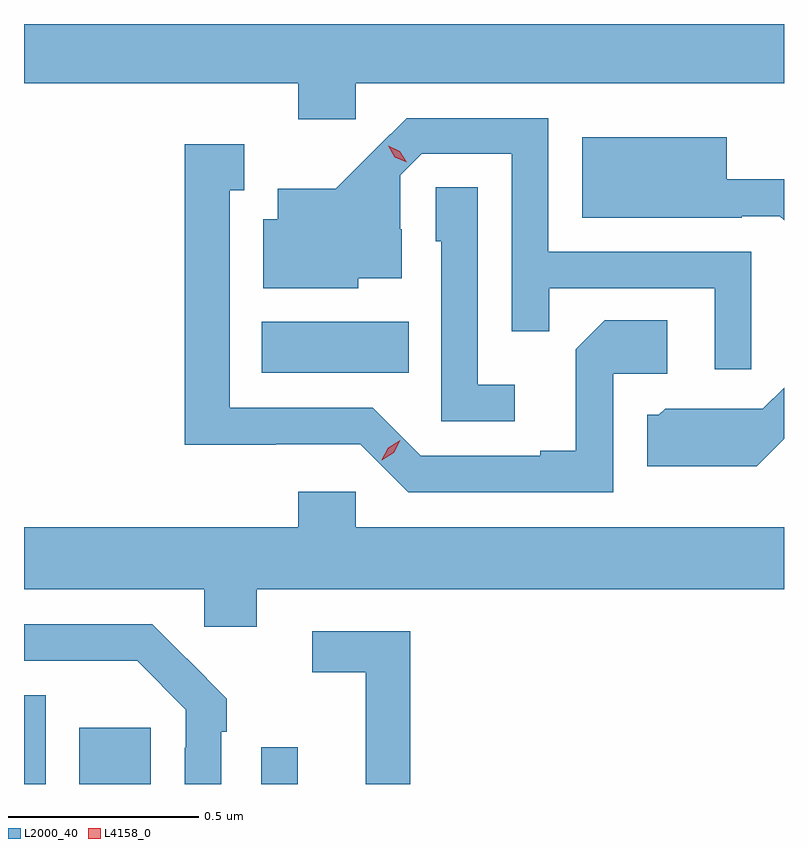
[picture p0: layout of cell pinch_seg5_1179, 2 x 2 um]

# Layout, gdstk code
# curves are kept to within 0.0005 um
import gdstk
lib = gdstk.Library(unit=1e-6, precision=1e-09)
def R(c, l, rs):  # rectangles x0, y0, x1, y1
    for r in rs: c.add(gdstk.rectangle(r[:2], r[2:], *l))
def P(c, l, *ps):  # polygons
    for p in ps: c.add(gdstk.Polygon(p, *l))
L2000_40 = (2000, 40)
L4158_0 = (4158, 0)

pinch_seg5_1179 = lib.new_cell('pinch_seg5_1179')
R(pinch_seg5_1179, L2000_40, [(773.217,840.264,773.274,840.498), (773.363,840.264,773.551,840.412), (773.841,840.264,773.937,840.361), (773.843,841.346,774.23,841.48)])
P(pinch_seg5_1179, L2000_40, [(774.09,842.108),(775.217,842.108),(775.217,842.264),(773.217,842.264),(773.217,842.108),(773.939,842.108),(773.939,842.013),(774.09,842.013)],
  [(775.131,841.665),(774.597,841.665),(774.597,842.016),(774.224,842.016),(774.037,841.831),(773.885,841.831),(773.885,841.75),(773.846,841.75),(773.846,841.568),(774.096,841.568),(774.096,841.595),(774.211,841.595),(774.211,841.724),(774.207,841.724),(774.207,841.866),(774.264,841.923),(774.501,841.923),(774.501,841.456),(774.599,841.456),(774.599,841.569),(775.035,841.569),(775.035,841.356),(775.131,841.356)],
  [(775.217,841.855),(775.066,841.855),(775.066,841.966),(774.686,841.966),(774.686,841.754),(775.106,841.754),(775.106,841.758),(775.206,841.758),(775.217,841.747)],
  [(774.768,841.344),(774.91,841.344),(774.91,841.484),(774.745,841.484),(774.669,841.408),(774.669,841.141),(774.575,841.141),(774.575,841.128),(774.261,841.128),(774.135,841.254),(773.758,841.254),(773.758,841.827),(773.797,841.827),(773.797,841.948),(773.64,841.948),(773.64,841.157),(773.88,841.157),(773.88,841.158),(774.102,841.158),(774.228,841.032),(774.768,841.032)],
  [(774.508,841.315),(774.411,841.315),(774.411,841.835),(774.3,841.835),(774.3,841.692),(774.315,841.692),(774.315,841.218),(774.508,841.218)],
  [(775.217,841.173),(775.217,841.307),(775.161,841.251),(775.038,841.251),(775.038,841.252),(774.904,841.252),(774.888,841.236),(774.857,841.236),(774.857,841.1),(775.145,841.1)],
  [(773.83,840.776),(775.217,840.776),(775.217,840.94),(774.09,840.94),(774.09,841.033),(773.939,841.033),(773.939,840.94),(773.217,840.94),(773.217,840.776),(773.691,840.776),(773.691,840.678),(773.83,840.678)],
  [(773.736,840.401),(773.751,840.401),(773.751,840.489),(773.646,840.594),(773.645,840.593),(773.554,840.684),(773.217,840.684),(773.217,840.588),(773.515,840.588),(773.643,840.459),(773.643,840.359),(773.64,840.359),(773.64,840.264),(773.736,840.264)],
  [(774.233,840.666),(773.976,840.666),(773.976,840.558),(774.116,840.558),(774.116,840.264),(774.233,840.264)])
P(pinch_seg5_1179, L4158_0, [(774.224,841.9),(774.193,841.914),(774.175,841.944),(774.175,841.944),(774.176,841.944),(774.206,841.929),(774.224,841.9),(774.224,841.9)],
  [(774.158,841.116),(774.158,841.117),(774.175,841.149),(774.207,841.169),(774.207,841.169),(774.207,841.168),(774.19,841.136),(774.158,841.116)])

lib.write_gds('pinch_seg5_1179.gds')
